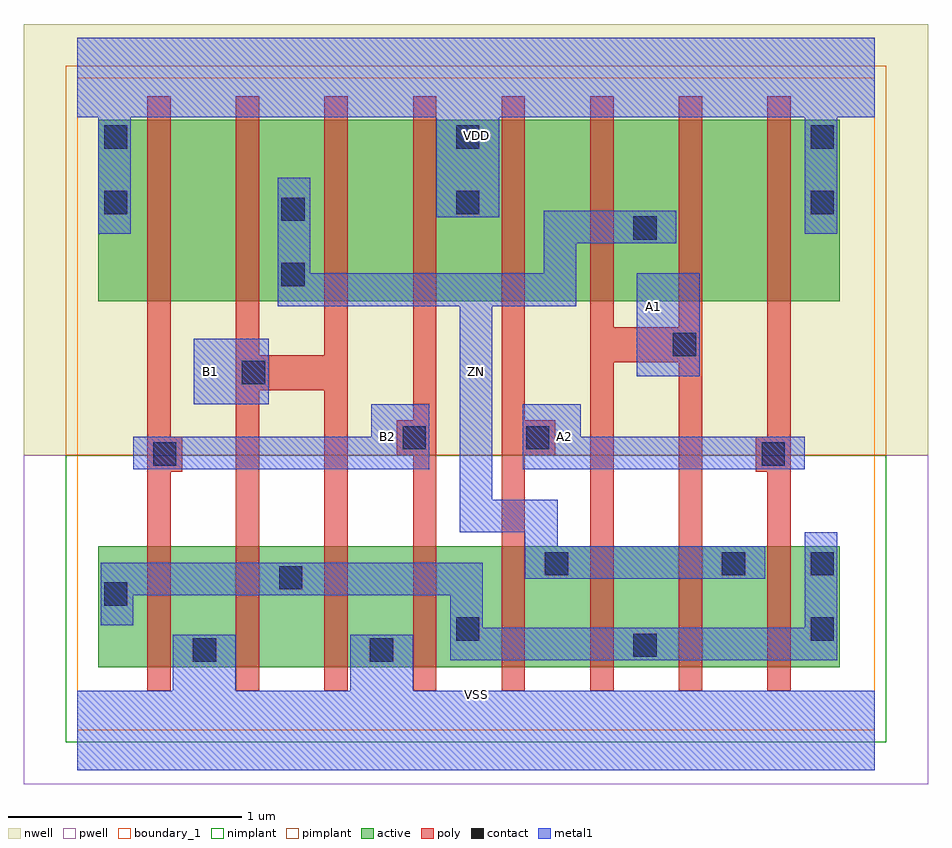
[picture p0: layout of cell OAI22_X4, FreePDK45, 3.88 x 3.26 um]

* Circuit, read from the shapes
.subckt OAI22_X4 A1 A2 B1 B2 VDD VSS ZN
M1 VSS B2 n1 VSUBS nfet w=0.52u l=0.1u m=2
M2 n1 B1 VSS VSUBS nfet w=0.52u l=0.1u m=2
M3 ZN A2 n1 VSUBS nfet w=0.52u l=0.1u m=2
M4 n1 A1 ZN VSUBS nfet w=0.52u l=0.1u m=2
M5 n2 B2 VDD n3 pfet w=0.78u l=0.1u
M6 ZN B1 n2 n3 pfet w=0.78u l=0.1u
M7 n4 B1 ZN n3 pfet w=0.78u l=0.1u
M8 VDD B2 n4 n3 pfet w=0.78u l=0.1u
M9 n5 A2 VDD n3 pfet w=0.78u l=0.1u
M10 ZN A1 n5 n3 pfet w=0.78u l=0.1u
M11 n6 A1 ZN n3 pfet w=0.78u l=0.1u
M12 VDD A2 n6 n3 pfet w=0.78u l=0.1u
.ends

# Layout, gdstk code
import gdstk
lib = gdstk.Library(unit=1e-6, precision=1e-09)
def R(c, l, rs):  # rectangles x0, y0, x1, y1
    for r in rs: c.add(gdstk.rectangle(r[:2], r[2:], *l))
def P(c, l, *ps):  # polygons
    for p in ps: c.add(gdstk.Polygon(p, *l))
active = (1, 0)
pwell = (2, 0)
nwell = (3, 0)
nimplant = (4, 0)
pimplant = (5, 0)
poly = (9, 0)
contact = (10, 0)
metal1 = (11, 0)
boundary_1 = (235, 1)

oai22_x4 = lib.new_cell('OAI22_X4')
R(oai22_x4, active, [(0.09,0.27,3.27,0.79), (0.09,1.84,3.27,2.62)])
R(oai22_x4, pwell, [(-0.23,-0.23,3.65,1.18)])
R(oai22_x4, nwell, [(-0.23,1.18,3.65,3.03)])
R(oai22_x4, nimplant, [(-0.05,-0.05,3.47,1.18)])
R(oai22_x4, pimplant, [(-0.05,1.18,3.47,2.85)])
P(oai22_x4, poly, [(2.91,1.11),(2.96,1.11),(2.96,0.17),(3.06,0.17),(3.06,2.72),(2.96,2.72),(2.96,1.26),(2.91,1.26)],
  [(2.2,0.17),(2.3,0.17),(2.3,1.58),(2.58,1.58),(2.58,0.17),(2.68,0.17),(2.68,2.72),(2.58,2.72),(2.58,1.73),(2.3,1.73),(2.3,2.72),(2.2,2.72)],
  [(1.82,0.17),(1.92,0.17),(1.92,1.18),(2.05,1.18),(2.05,1.33),(1.92,1.33),(1.92,2.72),(1.82,2.72)],
  [(1.37,1.18),(1.44,1.18),(1.44,0.17),(1.54,0.17),(1.54,2.72),(1.44,2.72),(1.44,1.33),(1.37,1.33)],
  [(0.68,0.17),(0.78,0.17),(0.78,1.46),(1.06,1.46),(1.06,0.17),(1.16,0.17),(1.16,2.72),(1.06,2.72),(1.06,1.61),(0.78,1.61),(0.78,2.72),(0.68,2.72)],
  [(0.3,0.17),(0.4,0.17),(0.4,1.11),(0.45,1.11),(0.45,1.26),(0.4,1.26),(0.4,2.72),(0.3,2.72)])
R(oai22_x4, contact, [(0.495,0.295,0.595,0.395), (1.255,0.295,1.355,0.395), (2.385,0.315,2.485,0.415), (1.625,0.385,1.725,0.485), (3.145,0.385,3.245,0.485), (0.115,0.535,0.215,0.635), (0.865,0.605,0.965,0.705), (2.005,0.665,2.105,0.765), (2.765,0.665,2.865,0.765), (3.145,0.665,3.245,0.765), (0.325,1.135,0.425,1.235), (2.935,1.135,3.035,1.235), (1.395,1.205,1.495,1.305), (1.925,1.205,2.025,1.305), (0.705,1.485,0.805,1.585), (2.555,1.605,2.655,1.705), (0.875,1.905,0.975,2.005), (2.385,2.105,2.485,2.205), (0.875,2.185,0.975,2.285), (0.115,2.215,0.215,2.315), (1.625,2.215,1.725,2.315), (3.145,2.215,3.245,2.315), (0.115,2.495,0.215,2.595), (1.625,2.495,1.725,2.595), (3.145,2.495,3.245,2.595)])
R(oai22_x4, metal1, [(0.5,1.4,0.82,1.68), (0.5,1.4,0.82,1.68), (2.4,1.52,2.67,1.96), (2.4,1.52,2.67,1.96)])
P(oai22_x4, metal1, [(0.86,1.82),(1.64,1.82),(1.64,0.85),(1.92,0.85),(1.92,0.65),(2.95,0.65),(2.95,0.79),(2.06,0.79),(2.06,0.99),(1.78,0.99),(1.78,1.82),(2.14,1.82),(2.14,2.09),(2.57,2.09),(2.57,2.23),(2,2.23),(2,1.96),(1,1.96),(1,2.37),(0.86,2.37)],
  [(1.91,1.12),(3.12,1.12),(3.12,1.26),(2.16,1.26),(2.16,1.4),(1.91,1.4)],
  [(0.24,1.12),(1.51,1.12),(1.51,1.4),(1.26,1.4),(1.26,1.26),(0.24,1.26)],
  [(0,-0.17),(3.42,-0.17),(3.42,0.17),(1.44,0.17),(1.44,0.41),(1.17,0.41),(1.17,0.17),(0.68,0.17),(0.68,0.41),(0.41,0.41),(0.41,0.17),(0,0.17)],
  [(0,2.63),(0.09,2.63),(0.09,2.13),(0.23,2.13),(0.23,2.63),(1.54,2.63),(1.54,2.2),(1.81,2.2),(1.81,2.63),(3.12,2.63),(3.12,2.13),(3.26,2.13),(3.26,2.63),(3.42,2.63),(3.42,2.97),(0,2.97)],
  [(0,2.63),(0.09,2.63),(0.09,2.13),(0.23,2.13),(0.23,2.63),(1.54,2.63),(1.54,2.2),(1.81,2.2),(1.81,2.63),(3.12,2.63),(3.12,2.13),(3.26,2.13),(3.26,2.63),(3.42,2.63),(3.42,2.97),(0,2.97)],
  [(0,-0.17),(3.42,-0.17),(3.42,0.17),(1.44,0.17),(1.44,0.41),(1.17,0.41),(1.17,0.17),(0.68,0.17),(0.68,0.41),(0.41,0.41),(0.41,0.17),(0,0.17)],
  [(0.1,0.45),(0.24,0.45),(0.24,0.58),(1.6,0.58),(1.6,0.3),(3.26,0.3),(3.26,0.85),(3.12,0.85),(3.12,0.44),(1.74,0.44),(1.74,0.72),(0.1,0.72)],
  [(1.91,1.12),(3.12,1.12),(3.12,1.26),(2.16,1.26),(2.16,1.4),(1.91,1.4)],
  [(0.86,1.82),(1.64,1.82),(1.64,0.85),(1.92,0.85),(1.92,0.65),(2.95,0.65),(2.95,0.79),(2.06,0.79),(2.06,0.99),(1.78,0.99),(1.78,1.82),(2.14,1.82),(2.14,2.09),(2.57,2.09),(2.57,2.23),(2,2.23),(2,1.96),(1,1.96),(1,2.37),(0.86,2.37)],
  [(0.24,1.12),(1.51,1.12),(1.51,1.4),(1.26,1.4),(1.26,1.26),(0.24,1.26)])
R(oai22_x4, boundary_1, [(0,0,3.42,2.8)])
oai22_x4.add(gdstk.Label('ZN', (1.71,1.54), layer=11, texttype=0))
oai22_x4.add(gdstk.Label('VSS', (1.71,0.155), layer=11, texttype=0))
oai22_x4.add(gdstk.Label('VDD', (1.71,2.55), layer=11, texttype=0))
oai22_x4.add(gdstk.Label('B2', (1.33,1.26), layer=11, texttype=0))
oai22_x4.add(gdstk.Label('B1', (0.57,1.54), layer=11, texttype=0))
oai22_x4.add(gdstk.Label('A2', (2.09,1.26), layer=11, texttype=0))
oai22_x4.add(gdstk.Label('A1', (2.47,1.82), layer=11, texttype=0))

lib.write_gds('OAI22_X4.gds')
